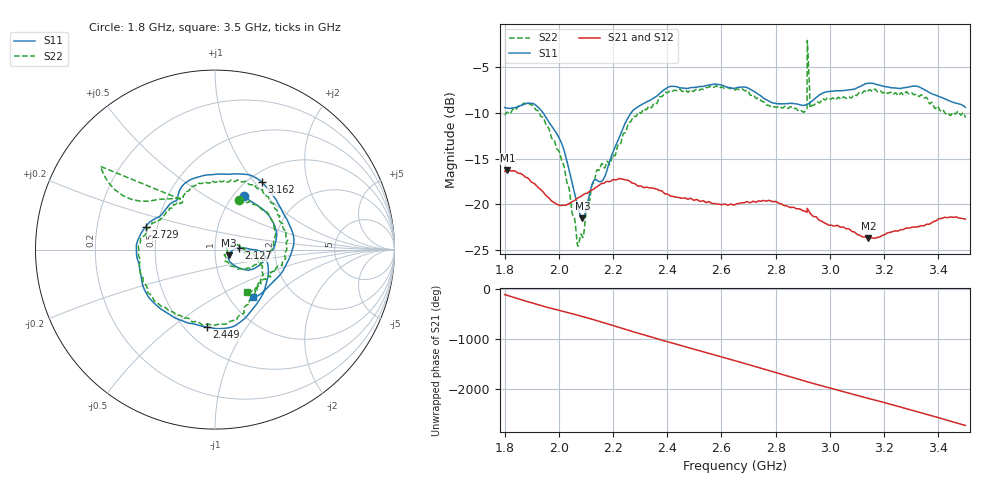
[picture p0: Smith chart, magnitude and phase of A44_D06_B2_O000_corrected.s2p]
! Created with skrf 1.9.0 (http://scikit-rf.org).
# Hz S RI R 50.0
!freq ReS11 ImS11 ReS21 ImS21 ReS12 ImS12 ReS22 ImS22
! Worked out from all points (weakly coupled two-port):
!   1601 points, 1.8 GHz to 3.5 GHz, reference 50 ohm
!   highest |S21| = -16.29 dB at 1.811 GHz (marker M1); lowest = -23.8 dB at 3.142 GHz (marker M2)
!   lowest |S11| = -21.6 dB at 2.087 GHz (marker M3), VSWR 1.18, Z = 58.2 - j3.82 ohm
!   |S11| at or under -10 dB: 1.942 GHz to 2.267 GHz (324.3 MHz wide, 15.4 % of centre)
!   |S22| runs from -24.6 to -2.1 dB; largest |S21 - S12| = 0.0026
!   S11 on the Smith chart (normalised r, x): 1.8 GHz: 1.12, +0.75; 2.127 GHz: 1.31, +0.02; 2.449 GHz: 0.63, -0.67; 2.729 GHz: 0.43, +0.13; 3.162 GHz: 1.15, +1.09; 3.5 GHz: 1.27, -0.77
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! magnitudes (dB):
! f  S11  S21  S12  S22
! 1.8 GHz  -9.4  -16.4  -16.4  -10.2
! 1.811 GHz  -9.5  -16.3  -16.3  -9.9
! 1.883 GHz  -9.0  -17.1  -17.1  -8.9
! 1.942 GHz  -10.0  -18.7  -18.7  -10.5
! 2.013 GHz  -13.5  -20.1  -20.1  -15.4
! 2.068 GHz  -20.0  -19.4  -19.4  -24.3
! 2.084 GHz  -21.5  -19.1  -19.1  -23.3
! 2.087 GHz  -21.6  -19.0  -19.0  -23.6
! 2.127 GHz  -17.5  -18.4  -18.4  -17.7
! 2.167 GHz  -17.2  -17.7  -17.7  -16.0
! 2.268 GHz  -10.0  -17.6  -17.6  -10.9
! 2.367 GHz  -8.0  -18.4  -18.4  -8.5
! 2.449 GHz  -7.3  -19.3  -19.3  -7.5
! 2.65 GHz  -7.3  -20.0  -20.0  -7.5
! 2.729 GHz  -7.8  -19.8  -19.8  -8.4
! 2.904 GHz  -9.2  -20.7  -20.7  -9.9
! 2.925 GHz  -8.9  -20.9  -20.9  -7.5
! 2.934 GHz  -8.7  -21.2  -21.2  -9.2
! 3.142 GHz  -6.8  -23.8  -23.6  -7.6
! 3.162 GHz  -6.8  -23.7  -23.7  -7.5
! 3.217 GHz  -7.2  -23.1  -23.1  -7.8
! 3.5 GHz  -9.4  -21.6  -21.6  -10.5
